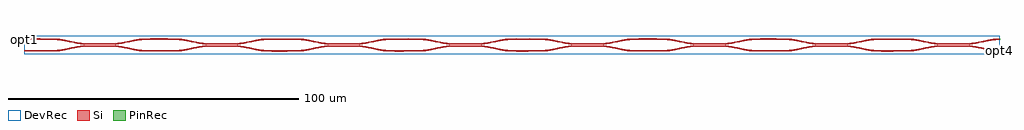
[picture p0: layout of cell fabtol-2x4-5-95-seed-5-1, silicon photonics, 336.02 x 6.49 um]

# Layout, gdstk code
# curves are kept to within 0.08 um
import gdstk
lib = gdstk.Library(unit=1e-6, precision=1e-09)
def R(c, l, rs):  # rectangles x0, y0, x1, y1
    for r in rs: c.add(gdstk.rectangle(r[:2], r[2:], *l))
def P(c, l, *ps):  # polygons
    for p in ps: c.add(gdstk.Polygon(p, *l))
Si = (1, 0)
PinRec = (1, 10)
DevRec = (68, 0)

layer_3_0_phase_sec_3_20 = lib.new_cell('layer-3_0_phase_sec_3$20')
P(layer_3_0_phase_sec_3_20, Si, [(2.135,-0.244),(0,-0.225),(0,0.225),(10,0.225),(10,-0.225)])

layer_0_0_phase_sec_0_20 = lib.new_cell('layer-0_0_phase_sec_0$20')
P(layer_0_0_phase_sec_0_20, Si, [(5.55,-0.24),(0,-0.225),(0,0.225),(10,0.225),(10,-0.225)])

layer_3_0_phase_sec_1_20 = lib.new_cell('layer-3_0_phase_sec_1$20')
P(layer_3_0_phase_sec_1_20, Si, [(4.164,-0.24),(0,-0.225),(0,0.225),(10,0.225),(10,-0.225)])

layer_1_0_phase_sec_0_20 = lib.new_cell('layer-1_0_phase_sec_0$20')
P(layer_1_0_phase_sec_0_20, Si, [(4.445,-0.227),(0,-0.225),(0,0.225),(10,0.225),(10,-0.225)])

layer_0_0_phase_sec_1_20 = lib.new_cell('layer-0_0_phase_sec_1$20')
P(layer_0_0_phase_sec_1_20, Si, [(3.771,-0.228),(0,-0.225),(0,0.225),(10,0.225),(10,-0.225)])

layer_3_0_phase_sec_2_20 = lib.new_cell('layer-3_0_phase_sec_2$20')
P(layer_3_0_phase_sec_2_20, Si, [(1.064,-0.234),(0,-0.225),(0,0.225),(10,0.225),(10,-0.225)])

layer_1_0_phase_sec_1_20 = lib.new_cell('layer-1_0_phase_sec_1$20')
P(layer_1_0_phase_sec_1_20, Si, [(2.64,-0.25),(0,-0.225),(0,0.225),(10,0.225),(10,-0.225)])

dc_arm_down_20 = lib.new_cell('dc_arm_down$20')
R(dc_arm_down_20, Si, [(12,-0.55,20,-0.1)])
P(dc_arm_down_20, Si, [(32,-2.225),(30.861,-2.188),(29.344,-2.033),(22.966,-0.793),(21.481,-0.613),(20,-0.55),(20,-0.1),(21.139,-0.137),(22.656,-0.292),(29.034,-1.532),(30.519,-1.712),(32,-1.775)],
  [(0,-2.225),(0,-1.775),(1.481,-1.712),(2.966,-1.532),(9.344,-0.292),(10.861,-0.137),(12,-0.1),(12,-0.55),(10.519,-0.613),(9.034,-0.793),(2.656,-2.033),(1.139,-2.188)])

dc_arm_up_20 = lib.new_cell('dc_arm_up$20')
R(dc_arm_up_20, Si, [(12,0.1,20,0.55)])
P(dc_arm_up_20, Si, [(20,0.1),(20,0.55),(21.481,0.613),(22.966,0.793),(29.344,2.033),(30.861,2.188),(32,2.225),(32,1.775),(30.519,1.712),(29.034,1.532),(22.656,0.292),(21.139,0.137)],
  [(12,0.1),(10.861,0.137),(9.344,0.292),(2.966,1.532),(1.481,1.712),(0,1.775),(0,2.225),(1.139,2.188),(2.656,2.033),(9.034,0.793),(10.519,0.613),(12,0.55)])

dc_20 = lib.new_cell('dc$20')
dc_20.add(gdstk.Reference(dc_arm_down_20, (0,0)))
dc_20.add(gdstk.Reference(dc_arm_up_20, (0,0)))

layer_1_0_phase_sec_2_20 = lib.new_cell('layer-1_0_phase_sec_2$20')
P(layer_1_0_phase_sec_2_20, Si, [(6.296,-0.237),(0,-0.225),(0,0.225),(10,0.225),(10,-0.225)])

layer_0_0_phase_sec_2_20 = lib.new_cell('layer-0_0_phase_sec_2$20')
P(layer_0_0_phase_sec_2_20, Si, [(6.014,-0.243),(0,-0.225),(0,0.225),(10,0.225),(10,-0.225)])

layer_3_0_phase_sec_0_20 = lib.new_cell('layer-3_0_phase_sec_0$20')
P(layer_3_0_phase_sec_0_20, Si, [(5.542,-0.24),(0,-0.225),(0,0.225),(10,0.225),(10,-0.225)])

layer_0_0_phase_sec_3_20 = lib.new_cell('layer-0_0_phase_sec_3$20')
P(layer_0_0_phase_sec_3_20, Si, [(7.351,-0.236),(0,-0.225),(0,0.225),(10,0.225),(10,-0.225)])

layer_1_0_phase_sec_3_20 = lib.new_cell('layer-1_0_phase_sec_3$20')
P(layer_1_0_phase_sec_3_20, Si, [(3.131,-0.242),(0,-0.225),(0,0.225),(10,0.225),(10,-0.225)])

layer_2_0_phase_sec_0_20 = lib.new_cell('layer-2_0_phase_sec_0$20')
P(layer_2_0_phase_sec_0_20, Si, [(1.535,-0.237),(0,-0.225),(0,0.225),(10,0.225),(10,-0.225)])

layer_2_0_phase_sec_1_20 = lib.new_cell('layer-2_0_phase_sec_1$20')
P(layer_2_0_phase_sec_1_20, Si, [(1.393,-0.242),(0,-0.225),(0,0.225),(10,0.225),(10,-0.225)])

layer_2_0_phase_sec_3_20 = lib.new_cell('layer-2_0_phase_sec_3$20')
P(layer_2_0_phase_sec_3_20, Si, [(1.249,-0.232),(0,-0.225),(0,0.225),(10,0.225),(10,-0.225)])

layer_2_0_phase_sec_2_20 = lib.new_cell('layer-2_0_phase_sec_2$20')
P(layer_2_0_phase_sec_2_20, Si, [(1.561,-0.245),(0,-0.225),(0,0.225),(10,0.225),(10,-0.225)])

fabtol_2x4_5_95_seed_5_1 = lib.new_cell('fabtol-2x4-5-95-seed-5-1')
R(fabtol_2x4_5_95_seed_5_1, DevRec, [(0,-1,336,5.495)])
fabtol_2x4_5_95_seed_5_1.add(gdstk.FlexPath([(335.99,0.25),(336.01,0.25)], 0.45, ends="flush", simple_path=True, layer=1, datatype=10))  # PinRec
fabtol_2x4_5_95_seed_5_1.add(gdstk.FlexPath([(335.99,4.25),(336.01,4.25)], 0.45, ends="flush", simple_path=True, layer=1, datatype=10))  # PinRec
fabtol_2x4_5_95_seed_5_1.add(gdstk.FlexPath([(0.01,4.25),(-0.01,4.25)], 0.45, ends="flush", simple_path=True, layer=1, datatype=10))  # PinRec
fabtol_2x4_5_95_seed_5_1.add(gdstk.Reference(layer_3_0_phase_sec_3_20, (294,0.25)))
fabtol_2x4_5_95_seed_5_1.add(gdstk.Reference(layer_0_0_phase_sec_0_20, (0,4.25)))
fabtol_2x4_5_95_seed_5_1.add(gdstk.Reference(layer_3_0_phase_sec_1_20, (252,0.25)))
fabtol_2x4_5_95_seed_5_1.add(gdstk.Reference(layer_1_0_phase_sec_0_20, (84,4.25)))
fabtol_2x4_5_95_seed_5_1.add(gdstk.Reference(layer_0_0_phase_sec_1_20, (0,0.25)))
fabtol_2x4_5_95_seed_5_1.add(gdstk.Reference(layer_3_0_phase_sec_2_20, (294,4.25)))
fabtol_2x4_5_95_seed_5_1.add(gdstk.Reference(layer_1_0_phase_sec_1_20, (84,0.25)))
fabtol_2x4_5_95_seed_5_1.add(gdstk.Reference(dc_20, (10,2.25)))
fabtol_2x4_5_95_seed_5_1.add(gdstk.Reference(dc_20, (52,2.25)))
fabtol_2x4_5_95_seed_5_1.add(gdstk.Reference(dc_20, (94,2.25)))
fabtol_2x4_5_95_seed_5_1.add(gdstk.Reference(dc_20, (136,2.25)))
fabtol_2x4_5_95_seed_5_1.add(gdstk.Reference(dc_20, (178,2.25)))
fabtol_2x4_5_95_seed_5_1.add(gdstk.Reference(dc_20, (220,2.25)))
fabtol_2x4_5_95_seed_5_1.add(gdstk.Reference(dc_20, (262,2.25)))
fabtol_2x4_5_95_seed_5_1.add(gdstk.Reference(dc_20, (304,2.25)))
fabtol_2x4_5_95_seed_5_1.add(gdstk.Reference(layer_1_0_phase_sec_2_20, (126,4.25)))
fabtol_2x4_5_95_seed_5_1.add(gdstk.Reference(layer_0_0_phase_sec_2_20, (42,4.25)))
fabtol_2x4_5_95_seed_5_1.add(gdstk.Reference(layer_3_0_phase_sec_0_20, (252,4.25)))
fabtol_2x4_5_95_seed_5_1.add(gdstk.Reference(layer_0_0_phase_sec_3_20, (42,0.25)))
fabtol_2x4_5_95_seed_5_1.add(gdstk.Reference(layer_1_0_phase_sec_3_20, (126,0.25)))
fabtol_2x4_5_95_seed_5_1.add(gdstk.Reference(layer_2_0_phase_sec_0_20, (168,4.25)))
fabtol_2x4_5_95_seed_5_1.add(gdstk.Reference(layer_2_0_phase_sec_1_20, (168,0.25)))
fabtol_2x4_5_95_seed_5_1.add(gdstk.Reference(layer_2_0_phase_sec_3_20, (210,0.25)))
fabtol_2x4_5_95_seed_5_1.add(gdstk.Reference(layer_2_0_phase_sec_2_20, (210,4.25)))
fabtol_2x4_5_95_seed_5_1.add(gdstk.Label('opt4', (336,0.25), layer=1, texttype=10))
fabtol_2x4_5_95_seed_5_1.add(gdstk.Label('opt3', (336,4.25), layer=1, texttype=10))
fabtol_2x4_5_95_seed_5_1.add(gdstk.Label('opt1', (0,4.25), layer=1, texttype=10))

lib.write_gds('fabtol-2x4-5-95-seed-5-1.gds')
